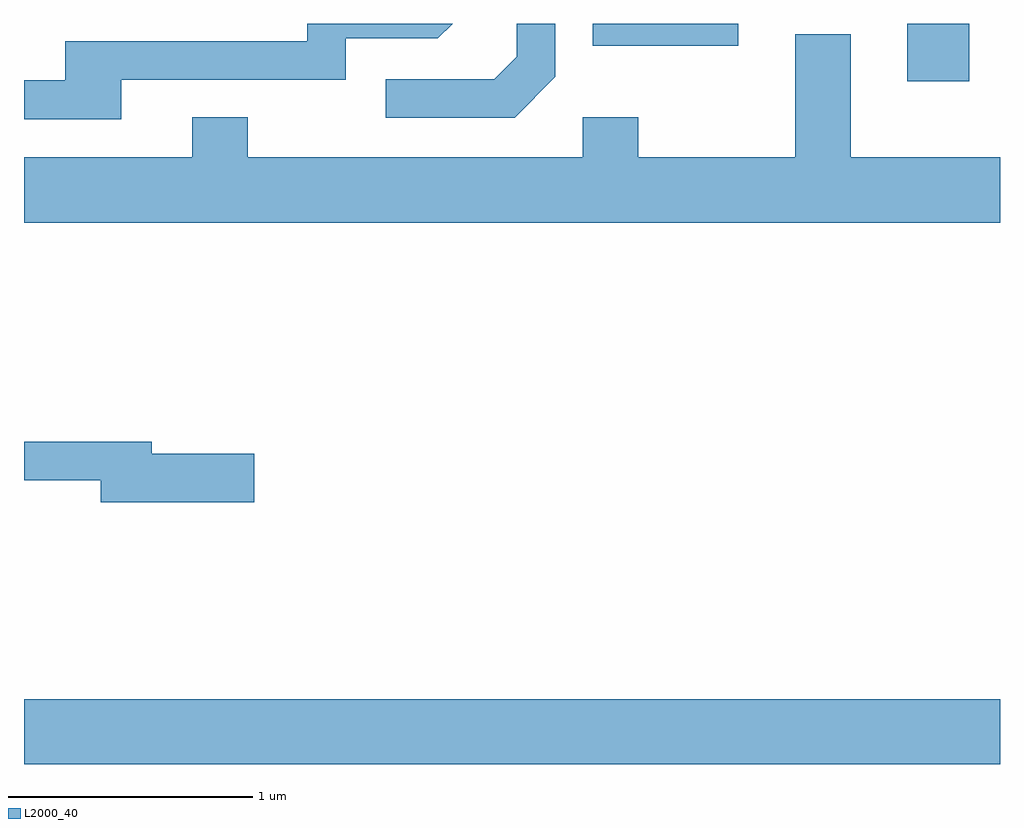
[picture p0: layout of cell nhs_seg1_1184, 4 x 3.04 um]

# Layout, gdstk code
import gdstk
lib = gdstk.Library(unit=1e-6, precision=1e-09)
def R(c, l, rs):  # rectangles x0, y0, x1, y1
    for r in rs: c.add(gdstk.rectangle(r[:2], r[2:], *l))
def P(c, l, *ps):  # polygons
    for p in ps: c.add(gdstk.Polygon(p, *l))
L2000_40 = (2000, 40)

nhs_seg1_1184 = lib.new_cell('nhs_seg1_1184')
R(nhs_seg1_1184, L2000_40, [(221.611,910.676,225.611,910.944), (225.231,913.476,225.484,913.712), (223.941,913.621,224.539,913.712)])
P(nhs_seg1_1184, L2000_40, [(223.789,913.494),(223.789,913.712),(223.631,913.712),(223.631,913.577),(223.539,913.484),(223.093,913.484),(223.093,913.326),(223.622,913.326)],
  [(222.009,913.481),(222.929,913.481),(222.929,913.651),(223.307,913.651),(223.368,913.712),(222.771,913.712),(222.771,913.639),(221.781,913.639),(221.781,913.479),(221.611,913.479),(221.611,913.321),(222.009,913.321)],
  [(225.611,913.164),(224.999,913.164),(224.999,913.669),(224.771,913.669),(224.771,913.164),(224.129,913.164),(224.129,913.329),(223.901,913.329),(223.901,913.164),(222.529,913.164),(222.529,913.329),(222.301,913.329),(222.301,913.164),(221.611,913.164),(221.611,912.896),(225.611,912.896)],
  [(222.554,911.949),(222.134,911.949),(222.134,911.999),(221.611,911.999),(221.611,911.841),(221.926,911.841),(221.926,911.751),(222.554,911.751)])

lib.write_gds('nhs_seg1_1184.gds')
